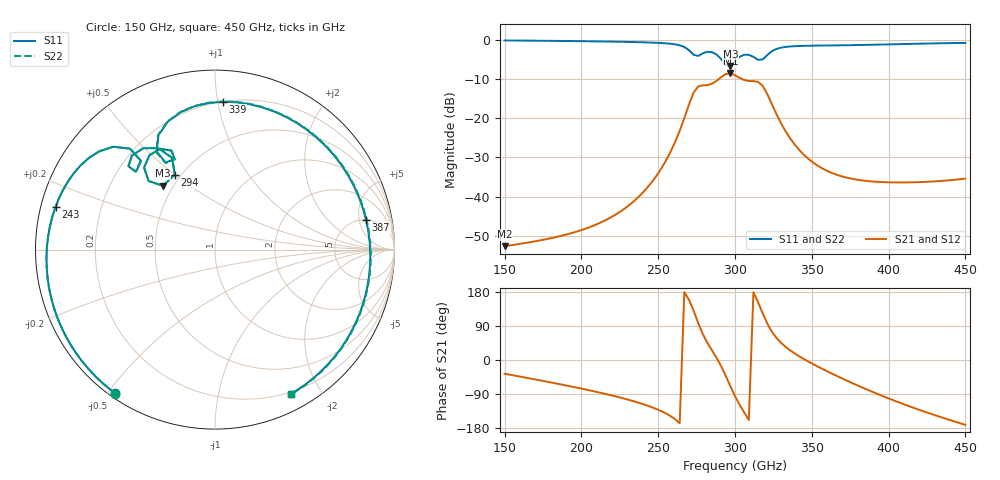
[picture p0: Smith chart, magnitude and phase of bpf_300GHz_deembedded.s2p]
! Created with skrf 2.2.0 (http://scikit-rf.org).
# GHz S DB R 50.0
! Port[1] = P1
! Port[2] = P2
!freq dBS11 angS11 dBS21 angS21 dBS12 angS12 dBS22 angS22
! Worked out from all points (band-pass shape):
!   101 points, 150 GHz to 450 GHz, reference 50 ohm
!   highest |S21| = -8.62 dB at 297 GHz (marker M1); lowest = -52.6 dB at 150 GHz (marker M2)
!   |S21| within 3 dB of the highest: 280.8 GHz to 317.5 GHz (36.64 GHz wide, 12.2 % of centre)
!   lowest |S11| = -6.8 dB at 297 GHz (marker M3), VSWR 2.70, Z = 22 + j19.9 ohm
!   |S11| at or under -10 dB: nowhere
!   |S22| runs from -6.8 to -0.2 dB; largest |S21 - S12| = 3.4e-13
!   S11 on the Smith chart (normalised r, x): 150 GHz: 0.02, -0.52; 243 GHz: 0.04, +0.13; 294 GHz: 0.46, +0.50; 339 GHz: 0.20, +1.03; 387 GHz: 5.01, +6.30; 450 GHz: 0.18, -1.64
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150  -0.22 -124.7  -52.63 -36.3  -52.63 -36.3  -0.22 -124.7
201  -0.41 -160.6  -48.39 -76.3  -48.39 -76.3  -0.41 -160.6
225  -0.56 -179.1  -43.91 -98.9  -43.91 -98.9  -0.55 -179.0
243  -0.73 165.0  -37.67 -120.5  -37.67 -120.5  -0.72 165.1
252  -0.88 155.6  -32.84 -135.0  -32.84 -135.0  -0.87 155.7
267  -1.88 134.6  -20.01 179.2  -20.01 179.2  -1.87 134.7
273  -3.85 129.8  -13.54 130.9  -13.54 130.9  -3.81 129.9
279  -3.50 136.1  -11.64 68.5  -11.64 68.5  -3.47 136.0
288  -3.80 119.1  -10.51 5.7  -10.51 5.7  -3.79 119.0
294  -6.49 118.3  -8.78 -42.0  -8.78 -42.0  -6.50 118.2
297  -6.75 129.2  -8.62 -69.5  -8.62 -69.5  -6.77 129.2
300  -5.49 134.0  -9.08 -95.4  -9.08 -95.4  -5.49 134.1
312  -4.39 113.8  -10.57 179.1  -10.57 179.1  -4.40 113.7
318  -5.07 119.5  -11.79 123.4  -11.79 123.4  -5.12 119.7
324  -2.95 116.2  -16.43 74.7  -16.43 74.7  -2.96 116.6
339  -1.68 87.0  -26.80 17.0  -26.80 17.0  -1.66 87.2
351  -1.55 66.8  -31.36 -11.2  -31.36 -11.2  -1.52 66.9
369  -1.46 38.1  -34.78 -47.3  -34.78 -47.3  -1.43 38.2
387  -1.33 11.2  -36.06 -79.7  -36.06 -79.7  -1.30 11.2
402  -1.20 -9.4  -36.38 -104.5  -36.38 -104.5  -1.17 -9.5
426  -1.00 -38.3  -36.21 -139.9  -36.21 -139.9  -0.97 -38.3
450  -0.84 -62.2  -35.41 -171.1  -35.41 -171.1  -0.82 -62.3
